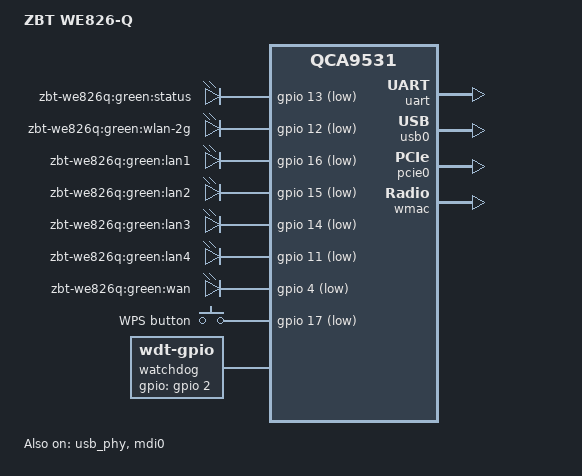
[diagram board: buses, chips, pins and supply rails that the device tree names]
// SPDX-License-Identifier: GPL-2.0-or-later
/dts-v1/;

#include <dt-bindings/gpio/gpio.h>
#include <dt-bindings/input/input.h>

#include "qca953x.dtsi"

/ {
	compatible = "zbt,we826q", "qca,qca9531";
	model = "ZBT WE826-Q";

	aliases {
		label-mac-device = &wmac;
	};
	leds {
		compatible = "gpio-leds";

		status {
			label = "zbt-we826q:green:status";
			gpios = <&gpio 13 GPIO_ACTIVE_LOW>;
		};

		wlan2g {
			label = "zbt-we826q:green:wlan-2g";
			gpios = <&gpio 12 GPIO_ACTIVE_LOW>;
		};

		lan1 {
			label = "zbt-we826q:green:lan1";
			gpios = <&gpio 16 GPIO_ACTIVE_LOW>;
		};

		lan2 {
			label = "zbt-we826q:green:lan2";
			gpios = <&gpio 15 GPIO_ACTIVE_LOW>;
		};

		lan3 {
			label = "zbt-we826q:green:lan3";
			gpios = <&gpio 14 GPIO_ACTIVE_LOW>;
		};

		lan4 {
			label = "zbt-we826q:green:lan4";
			gpios = <&gpio 11 GPIO_ACTIVE_LOW>;
		};

		wan {
			label = "zbt-we826q:green:wan";
			gpios = <&gpio 4 GPIO_ACTIVE_LOW>;
		};
	};

	keys {
		compatible = "gpio-keys";

		wps {
			label = "WPS button";
			linux,code = <KEY_WPS_BUTTON>;
			gpios = <&gpio 17 GPIO_ACTIVE_LOW>;
			debounce-interval = <60>;
		}

	};

	watchdog {
		compatible = "linux,wdt-gpio";

		gpios = <&gpio 2 GPIO_ACTIVE_HIGH>;
		hw_algo = "toggle";
		hw_margin_ms = <1200>;
		always-running;
	};
};

&uart {
	status = "okay";
};

&usb0 {
	#address-cells = <1>;
	#size-cells = <0>;
	status = "okay";

	hub_port: port@1 {
		reg = <1>;
		#trigger-source-cells = <0>;
	};
};

&usb_phy {
	status = "okay";
};

&pcie0 {
	status = "okay";
};

&wmac {
	status = "okay";

	mtd-cal-data = <&art 0x1000>;
};

&mdi0 {
	status = "okay";
};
